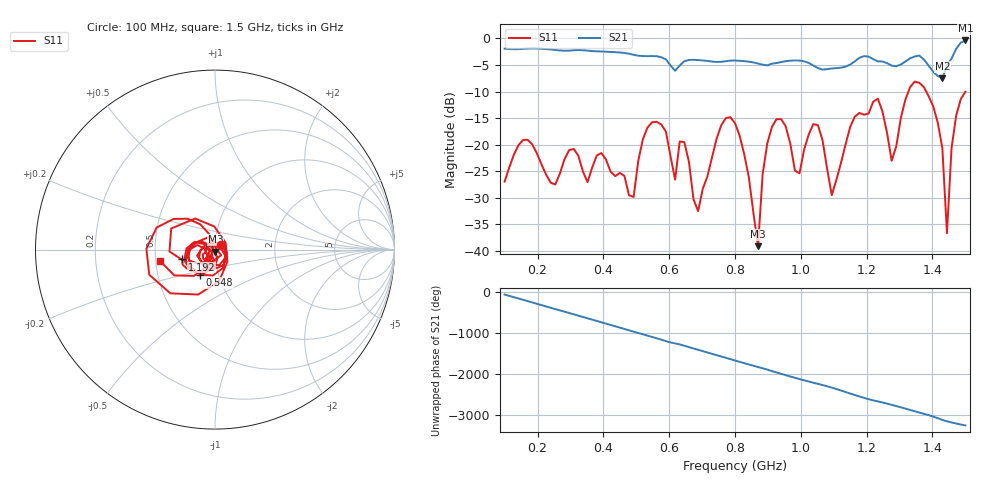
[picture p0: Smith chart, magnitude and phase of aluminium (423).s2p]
! NanoVNA-App
! Date: 2025-09-25 14:58:34
! Start: 100MHz Stop: 1,5GHz Points: 101
! S-Parameter data: F S11 S21 S12 S22
# Hz S RI R 50
!  Frequency  S11_Real  S11_Imag  S21_Real  S21_Imag  S12_Real  S12_Imag  S22_Real  S22_Imag
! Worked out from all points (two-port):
!   101 points, 100 MHz to 1.5 GHz, reference 50 ohm
!   highest |S21| = -0.38 dB at 1.5 GHz (marker M1); lowest = -7.5 dB at 1.43 GHz (marker M2)
!   |S21| within 3 dB of the highest: start of sweep to 564.3 MHz; 1.461 GHz to end of sweep (the widest 2 of 4)
!   lowest |S11| = -39.1 dB at 870 MHz (marker M3), VSWR 1.02, Z = 50.2 - j1.08 ohm
!   |S11| at or under -10 dB: start of sweep to 1.327 GHz; 1.381 GHz to end of sweep
!   S12 and S22 are empty: the file has one direction only
!   S11 on the Smith chart (normalised r, x): 100 MHz: 1.07, +0.06; 548 MHz: 0.82, -0.24; 1.192 GHz: 0.69, -0.08; 1.5 GHz: 0.52, -0.07
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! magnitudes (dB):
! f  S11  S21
! 100 MHz  -27.0  -1.9
! 156 MHz  -19.1  -2.0
! 338 MHz  -25.1  -2.2
! 492 MHz  -29.8  -3.1
! 548 MHz  -15.8  -3.3
! 576 MHz  -16.2  -3.5
! 646 MHz  -19.5  -4.3
! 688 MHz  -32.5  -4.1
! 800 MHz  -16.0  -4.2
! 870 MHz  -39.1  -4.7
! 912 MHz  -16.7  -4.7
! 996 MHz  -25.4  -4.2
! 1.038 GHz  -16.1  -5.1
! 1.094 GHz  -29.5  -5.7
! 1.192 GHz  -14.4  -3.3
! 1.234 GHz  -11.3  -4.3
! 1.276 GHz  -23.0  -5.1
! 1.346 GHz  -8.1  -3.4
! 1.43 GHz  -20.7  -7.5
! 1.444 GHz  -36.7  -5.1
! 1.458 GHz  -20.6  -3.8
! 1.5 GHz  -10.0  -0.4
